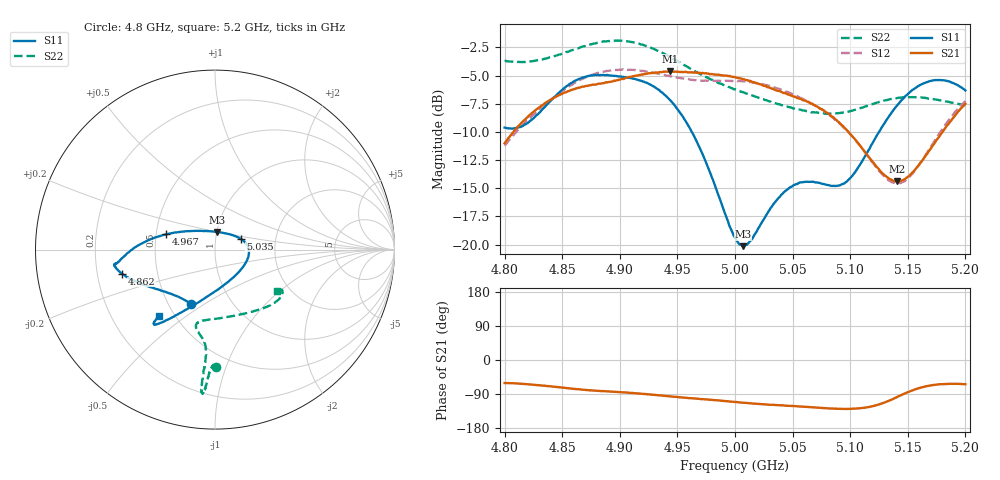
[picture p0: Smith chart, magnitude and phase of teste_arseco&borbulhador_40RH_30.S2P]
! Network Analyzer HP8722D
! Hewlett-Packard
! Data name: Linha & Wilkinson
! Saver's name: Rodrigo Anjos
! Comments: Teste da utilização de aquisição
! continua pelo VNA HP8722D
! Time and date: 15/4/2025 16:36
!  Frequency  S11  S21  S12  S22
# HZ  S  MA R 50
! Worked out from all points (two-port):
!   401 points, 4.8 GHz to 5.2 GHz, reference 50 ohm
!   highest |S21| = -4.63 dB at 4.944 GHz (marker M1); lowest = -14.4 dB at 5.141 GHz (marker M2)
!   |S21| within 3 dB of the highest: 4.832 GHz to 5.069 GHz (236.6 MHz wide, 4.78 % of centre); 5.198667 GHz to end of sweep
!   lowest |S11| = -20.1 dB at 5.007 GHz (marker M3), VSWR 1.22, Z = 50.1 + j9.9 ohm
!   |S11| at or under -10 dB: 4.962 GHz to 5.125 GHz (162.5 MHz wide, 3.22 % of centre)
!   |S22| runs from -8.4 to -1.9 dB; largest |S21 - S12| = 0.88
!   S11 on the Smith chart (normalised r, x): 4.8 GHz: 0.65, -0.44; 4.862 GHz: 0.31, -0.11; 4.967 GHz: 0.56, +0.11; 5.035 GHz: 1.32, +0.16; 5.2 GHz: 0.41, -0.40
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4.8e9  0.3305 -113.7  0.2814 -60.8  0.2748 -175.0  0.6531 -89.5
4.819e9  0.3446 -133.5  0.3648 -63.8  0.3524 -173.3  0.6488 -91.1
4.862e9  0.5362 -165.6  0.4939 -76.6  0.5271 -176.3  0.7395 -93.5
4.867e9  0.5497 -167.5  0.5023 -78.3  0.5419 -177.1  0.755 -93.7
4.902e9  0.555 -172.1  0.5438 -85.3  0.5984 175.3  0.8031 -95.1
4.934e9  0.4862 -177.9  0.5812 -93.4  0.5726 171.9  0.7201 -95.5
4.944e9  0.436 177.6  0.587 -96.0  0.5572 172.1  0.6791 -95.4
4.967e9  0.2854 162.5  0.5806 -102.0  0.5355 174.1  0.5816 -94.9
5e9  0.1074 107.6  0.5534 -110.8  0.5338 176.5  0.4883 -99.2
5.007e9  0.09846 84.0  0.5421 -112.6  0.5296 176.4  0.4741 -101.0
5.014e9  0.1047 61.6  0.5309 -114.6  0.5271 176.4  0.4616 -102.5
5.035e9  0.1547 23.2  0.4863 -118.8  0.497 175.1  0.4241 -103.8
5.05e9  0.182 7.3  0.4563 -121.5  0.4634 174.5  0.403 -100.2
5.067e9  0.19 -11.0  0.4217 -124.6  0.4222 174.0  0.3868 -91.9
5.087e9  0.1819 -43.5  0.3597 -128.6  0.358 173.8  0.3823 -76.9
5.097e9  0.1903 -64.7  0.3221 -129.1  0.3205 174.4  0.3883 -68.6
5.134e9  0.3729 -115.9  0.1958 -107.1  0.1918 -159.8  0.4413 -43.4
5.141e9  0.4165 -119.9  0.1908 -97.1  0.187 -148.9  0.4477 -40.2
5.153e9  0.481 -124.8  0.2062 -81.2  0.2038 -130.3  0.4515 -35.9
5.17e9  0.5325 -128.5  0.2672 -66.9  0.2718 -113.1  0.4443 -32.0
5.184e9  0.5322 -129.8  0.3379 -63.0  0.3483 -107.2  0.4315 -31.0
5.2e9  0.4831 -130.3  0.4218 -63.9  0.434 -106.0  0.4152 -33.4
